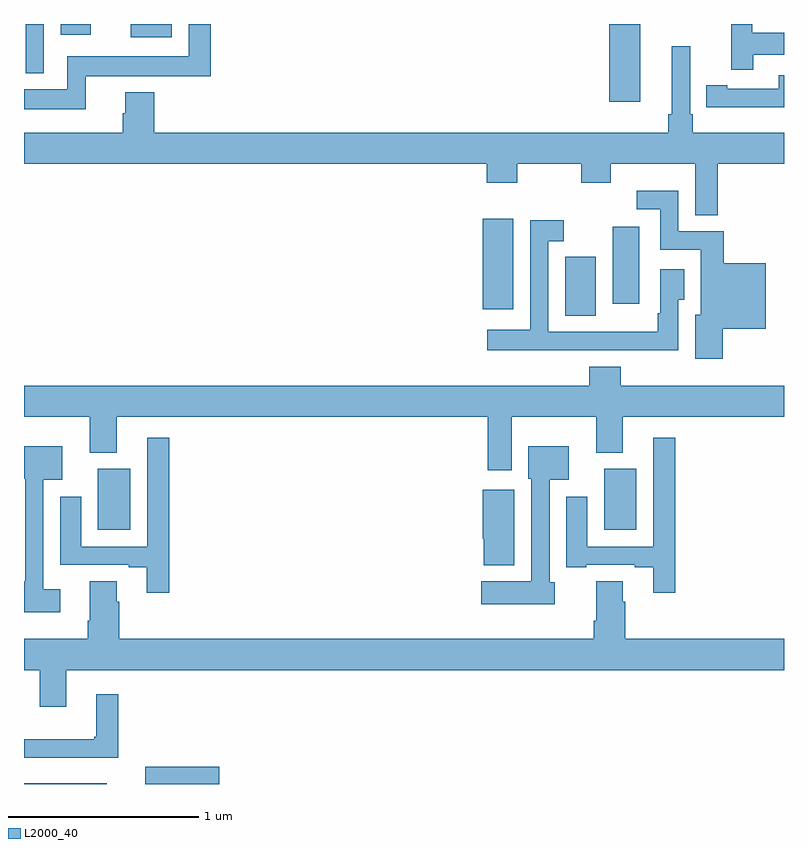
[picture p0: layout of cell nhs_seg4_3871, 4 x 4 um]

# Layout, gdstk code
import gdstk
lib = gdstk.Library(unit=1e-6, precision=1e-09)
def R(c, l, rs):  # rectangles x0, y0, x1, y1
    for r in rs: c.add(gdstk.rectangle(r[:2], r[2:], *l))
def P(c, l, *ps):  # polygons
    for p in ps: c.add(gdstk.Polygon(p, *l))
L2000_40 = (2000, 40)

nhs_seg4_3871 = lib.new_cell('nhs_seg4_3871')
R(nhs_seg4_3871, L2000_40, [(315,782.9,315.436,782.905), (315.638,782.9,316.027,782.99), (315.389,784.238,315.559,784.558), (318.053,784.238,318.223,784.558), (317.849,785.365,318.01,785.676), (317.414,785.4,317.575,785.875), (318.098,785.427,318.238,785.833), (318.08,786.492,318.244,786.9), (315.009,786.641,315.105,786.9), (315.563,786.83,315.778,786.9), (315.194,786.843,315.352,786.9)])
P(nhs_seg4_3871, L2000_40, [(318.839,786.738),(319,786.738),(319,786.854),(318.832,786.854),(318.832,786.9),(318.722,786.9),(318.722,786.66),(318.839,786.66)],
  [(315.326,786.626),(315.86,786.626),(315.86,786.624),(315.983,786.624),(315.983,786.9),(315.867,786.9),(315.867,786.73),(315.228,786.73),(315.228,786.556),(315,786.556),(315,786.452),(315.326,786.452)],
  [(315.533,786.541),(315.533,786.429),(315.521,786.429),(315.521,786.328),(315,786.328),(315,786.164),(317.435,786.164),(317.435,786.065),(317.595,786.065),(317.595,786.164),(317.932,786.164),(317.932,786.065),(318.087,786.065),(318.087,786.164),(318.533,786.164),(318.533,785.893),(318.652,785.893),(318.652,786.164),(319,786.164),(319,786.328),(318.521,786.328),(318.521,786.424),(318.507,786.424),(318.507,786.784),(318.41,786.784),(318.41,786.424),(318.391,786.424),(318.391,786.328),(315.686,786.328),(315.686,786.541)],
  [(319,786.63),(318.972,786.63),(318.972,786.558),(318.7,786.558),(318.7,786.578),(318.592,786.578),(318.592,786.462),(318.7,786.462),(318.7,786.461),(319,786.461)],
  [(318.677,785.297),(318.904,785.297),(318.904,785.641),(318.682,785.641),(318.682,785.808),(318.444,785.808),(318.444,786.022),(318.225,786.022),(318.225,785.925),(318.348,785.925),(318.348,785.712),(318.563,785.712),(318.563,785.371),(318.533,785.371),(318.533,785.139),(318.677,785.139)],
  [(317.857,785.184),(318.223,785.184),(318.223,785.183),(318.444,785.183),(318.444,785.449),(318.475,785.449),(318.475,785.608),(318.348,785.608),(318.348,785.377),(318.336,785.377),(318.336,785.281),(318.106,785.281),(318.106,785.28),(317.76,785.28),(317.76,785.757),(317.842,785.757),(317.842,785.866),(317.664,785.866),(317.664,785.29),(317.439,785.29),(317.439,785.183),(317.857,785.183)],
  [(317.566,784.832),(318.011,784.832),(318.011,784.643),(318.151,784.643),(318.151,784.832),(319,784.832),(319,784.996),(318.14,784.996),(318.14,785.095),(317.975,785.095),(317.975,784.996),(315,784.996),(315,784.832),(315.347,784.832),(315.347,784.643),(315.487,784.643),(315.487,784.832),(317.441,784.832),(317.441,784.551),(317.566,784.551)],
  [(315.764,784.723),(315.648,784.723),(315.648,784.149),(315.301,784.149),(315.301,784.411),(315.191,784.411),(315.191,784.053),(315.551,784.053),(315.551,784.041),(315.647,784.041),(315.647,783.906),(315.764,783.906)],
  [(318.428,784.723),(318.312,784.723),(318.312,784.149),(317.965,784.149),(317.965,784.411),(317.855,784.411),(317.855,784.041),(317.959,784.041),(317.959,784.053),(318.215,784.053),(318.215,784.041),(318.311,784.041),(318.311,783.906),(318.428,783.906)],
  [(315.19,783.925),(315.102,783.925),(315.102,784.502),(315.202,784.502),(315.202,784.678),(315,784.678),(315,784.506),(315.006,784.506),(315.006,783.966),(315,783.966),(315,783.803),(315.19,783.803)],
  [(317.794,783.963),(317.766,783.963),(317.766,784.502),(317.866,784.502),(317.866,784.678),(317.654,784.678),(317.654,784.506),(317.67,784.506),(317.67,783.967),(317.406,783.967),(317.406,783.845),(317.794,783.845)],
  [(317.581,784.45),(317.414,784.45),(317.414,784.191),(317.42,784.191),(317.42,784.052),(317.581,784.052)],
  [(315.223,783.5),(319,783.5),(319,783.664),(318.164,783.664),(318.164,783.86),(318.151,783.86),(318.151,783.968),(318.011,783.968),(318.011,783.76),(317.999,783.76),(317.999,783.664),(315.5,783.664),(315.5,783.86),(315.487,783.86),(315.487,783.968),(315.347,783.968),(315.347,783.76),(315.335,783.76),(315.335,783.664),(315,783.664),(315,783.5),(315.083,783.5),(315.083,783.306),(315.223,783.306)],
  [(315.497,783.373),(315.38,783.373),(315.38,783.148),(315.369,783.148),(315.369,783.136),(315,783.136),(315,783.038),(315.497,783.038)])

lib.write_gds('nhs_seg4_3871.gds')
